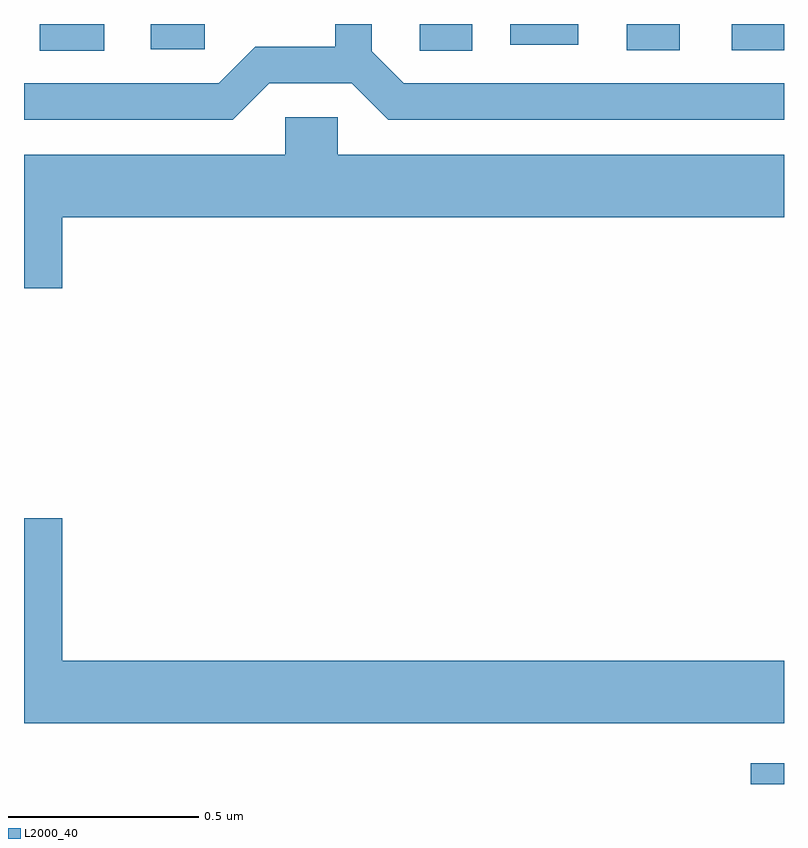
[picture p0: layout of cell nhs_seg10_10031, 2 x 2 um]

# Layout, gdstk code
import gdstk
lib = gdstk.Library(unit=1e-6, precision=1e-09)
def R(c, l, rs):  # rectangles x0, y0, x1, y1
    for r in rs: c.add(gdstk.rectangle(r[:2], r[2:], *l))
def P(c, l, *ps):  # polygons
    for p in ps: c.add(gdstk.Polygon(p, *l))
L2000_40 = (2000, 40)

nhs_seg10_10031 = lib.new_cell('nhs_seg10_10031')
R(nhs_seg10_10031, L2000_40, [(238.912,1289.5,239,1289.554), (237.041,1291.429,237.211,1291.5), (238.041,1291.429,238.18,1291.5), (238.586,1291.431,238.726,1291.5), (238.862,1291.431,239,1291.5), (237.333,1291.434,237.475,1291.5), (238.28,1291.446,238.459,1291.5)])
P(nhs_seg10_10031, L2000_40, [(237.645,1291.344),(237.863,1291.344),(237.959,1291.248),(239,1291.248),(239,1291.344),(237.999,1291.344),(237.915,1291.428),(237.915,1291.5),(237.819,1291.5),(237.819,1291.44),(237.609,1291.44),(237.513,1291.344),(237,1291.344),(237,1291.248),(237.549,1291.248)],
  [(237.1,1290.992),(239,1290.992),(239,1291.156),(237.825,1291.156),(237.825,1291.254),(237.687,1291.254),(237.687,1291.156),(237,1291.156),(237,1290.804),(237.1,1290.804)],
  [(239,1289.824),(237.1,1289.824),(237.1,1290.199),(237,1290.199),(237,1289.66),(239,1289.66)])

lib.write_gds('nhs_seg10_10031.gds')
